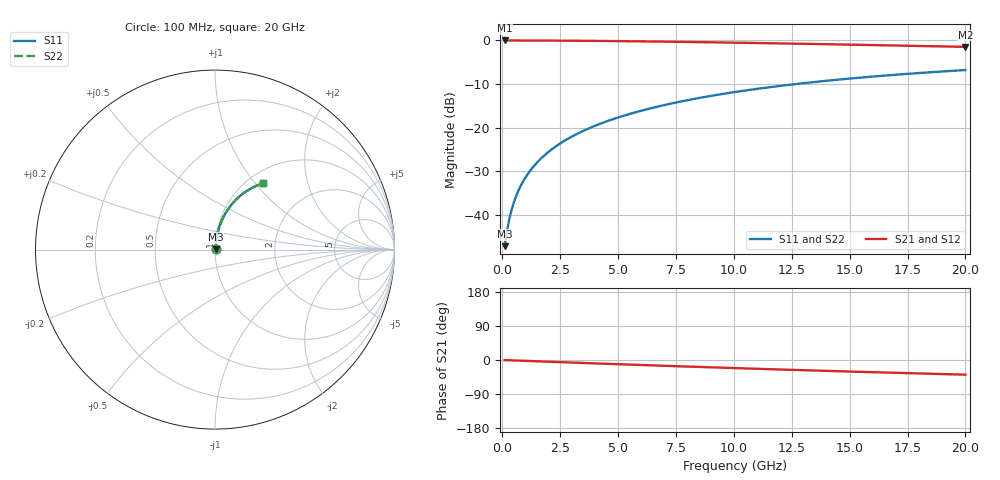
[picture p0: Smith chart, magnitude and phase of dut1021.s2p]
! Touchstone file exported from HFSS 2024.1.0
!  File:  C:/UserFiles/LocalFiles/RDL_TSV_Batchsim/temp_RDL_bottom_1021_1780050767.aedt
!  Generated:  06:35:14 PM May 29, 2026
!  Design:  RDL_bottom
!  Project:  temp_RDL_bottom_1021_1780050767
!  Setup:  Setup1
!  Solution:  Sweep
! Variables:
!  dtsv = 10.80580581um
!  hbump = 3um
!  htsv = 99.26um
!  ldown = 454.66um
!  lrdl = 100um
!  p = 40
!  p1 = 58.73um
!  rhole = 1um
!  t = 450um
!  tdown = 3.75um
!  trdl = 3.915915916um
!  wdown = 12.94um
!  wrdl = 20um
# GHz S MA R 50.000000
! Terminal data exported
! Port[1] = RDL1_T1
! Port[2] = RDL1_T2
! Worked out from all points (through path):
!   200 points, 100 MHz to 20 GHz, reference 50 ohm
!   highest |S21| = -0.03 dB at 100 MHz (marker M1); lowest = -1.5 dB at 20 GHz (marker M2)
!   group delay of S21, straight-line fit = 5.37 ps
!   lowest |S11| = -47.2 dB at 100 MHz (marker M3), VSWR 1.01, Z = 50.3 + j0.272 ohm
!   |S11| at or under -10 dB: start of sweep to 12.72 GHz
!   |S22| runs from -47.2 to -6.8 dB; largest |S21 - S12| = 2e-15
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0.1  0.004356 38.4  0.9966 -0.2  0.9966 -0.2  0.004356 38.4
! Gamma 0 0 0 0
! Port Impedance 50 0 50 0
0.2  0.00642 57.1  0.9965 -0.5  0.9965 -0.5  0.00642 57.1
0.3  0.008817 66.0  0.9964 -0.7  0.9964 -0.7  0.008817 66.0
0.4  0.01132 70.9  0.9963 -0.9  0.9963 -0.9  0.01132 70.9
0.5  0.01385 73.9  0.9962 -1.1  0.9962 -1.1  0.01385 73.9
0.6  0.01641 75.9  0.9961 -1.4  0.9961 -1.4  0.01641 75.9
0.8  0.02154 78.5  0.9958 -1.8  0.9958 -1.8  0.02154 78.5
1.1  0.02928 80.5  0.9953 -2.5  0.9953 -2.5  0.02928 80.5
1.5  0.03964 81.7  0.9945 -3.4  0.9945 -3.4  0.03964 81.7
1.8  0.04744 82.0  0.9938 -4.1  0.9938 -4.1  0.04744 82.0
2.1  0.05524 82.1  0.993 -4.7  0.993 -4.7  0.05524 82.1
2.7  0.07084 81.9  0.991 -6.1  0.991 -6.1  0.07084 81.9
3.5  0.09161 81.2  0.9877 -7.9  0.9877 -7.9  0.0916 81.2
4.2  0.1097 80.3  0.9843 -9.4  0.9843 -9.4  0.1097 80.3
5  0.1303 79.2  0.9797 -11.1  0.9797 -11.1  0.1303 79.1
5.9  0.1533 77.7  0.9739 -13.0  0.9739 -13.0  0.1533 77.7
6.8  0.1761 76.3  0.9675 -14.9  0.9675 -14.9  0.176 76.3
8.3  0.2133 73.7  0.9557 -18.0  0.9557 -18.0  0.2133 73.7
10.1  0.2566 70.6  0.9402 -21.5  0.9402 -21.5  0.2566 70.6
13.4  0.331 64.8  0.9088 -27.7  0.9088 -27.7  0.3309 64.8
16.7  0.3977 59.3  0.8753 -33.4  0.8753 -33.4  0.3977 59.3
20  0.4564 54.1  0.8412 -38.7  0.8412 -38.7  0.4563 54.1
